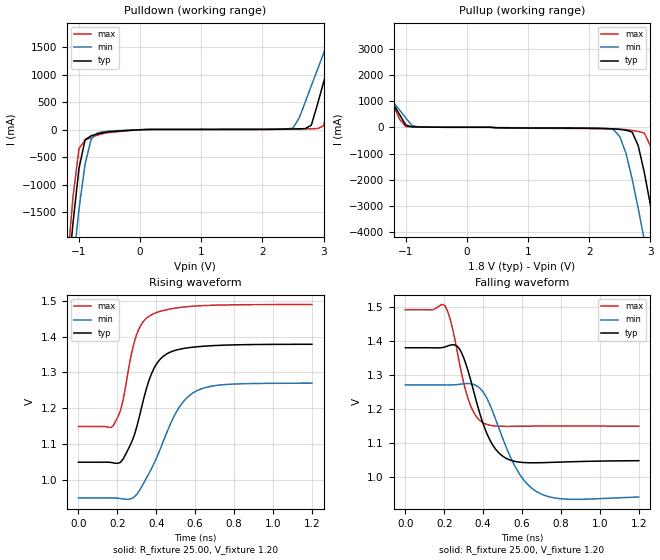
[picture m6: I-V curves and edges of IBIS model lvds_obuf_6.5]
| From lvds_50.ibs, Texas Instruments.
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|   Model lvds_obuf_6.5
[Model]   lvds_obuf_6.5
Model_type   Output
Polarity   Non-Inverting
Vmeas =   1.2000V
C_comp   4.00pF   4.00pF   4.00pF
[Temperature Range]   25.00   0.12k   -40.00
[Voltage Range]   1.80V   1.65V   1.95V
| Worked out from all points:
|   slope of the pulldown table from 0 to 0.27 V, typ, clamps not added: 45.9 ohm
|   slope of the pullup table from 0 to 0.27 V, typ, clamps not added: 20 kohm
|   rising waveform, R_fixture 25.00, V_fixture 1.20: 20-80 % time 110ps typ, 164ps min, 83.7ps max; typ from 1.05 V to 1.38 V
|   falling waveform, R_fixture 25.00, V_fixture 1.20: 20-80 % time 108ps typ, 149ps min, 82.5ps max; typ from 1.38 V to 1.05 V
[Pulldown]
| voltage   I(typ)   I(min)   I(max)
-1.8V     -11.24A    -11.51A    -11.61A
-1.2V     -2.95A     -3.66A     -2.55A
-1.1V     -1.71A     -2.5A      -1.24A
-1V       -700mA     -1.44A     -340mA
-900mV    -180mA     -620mA     -190mA
-700mV    -76.96mA   -60.03mA   -98.36mA
2.5V      14.28mA    30.3mA     11.34mA
2.8V      83.04mA    800mA      18.25mA
3V        860mA      1.39A      69.41mA
3.2V      1.64A      2A         1.05A
3.4V      2.44A      2.87A      2.05A
3.6V      3.26A      7.07A      3.07A
[Pullup]
| voltage   I(typ)   I(min)   I(max)
-1.8V     3.24A      3.32A      3.83A
-1.6V     2.43A      2.16A      2.81A
-1V       81.96mA    350mA      27.79mA
2.4V      -60.41mA   -92.01mA   -62.4mA
2.5V      -81.44mA   -360mA     -70.35mA
2.7V      -180mA     -1.96A     -120mA
2.9V      -1.72A     -4.29A     -220mA
3V        -2.97A     -5.53A     -710mA
3.1V      -4.3A      -6.79A     -1.88A
3.2V      -5.67A     -8.07A     -3.29A
3.3V      -7.06A     -9.37A     -4.77A
3.6V      -11.31A    -15.14A    -9.36A
[Ramp]
| variable   typ   min   max
dV/dt_r   0.42/0.12n   0.27/0.16n   0.55/99.32p
dV/dt_f   0.11/75.86p   0.11/0.11n   0.12/59.80p
R_load = 25.00
[Rising Waveform]
R_fixture = 25.00
V_fixture = 1.20
V_fixture_min = 1.10
V_fixture_max = 1.30
| time   V(typ)   V(min)   V(max)
0s        1.049V     949.2mV    1.149V
180ps     1.047V     949.2mV    1.152V
228ps     1.056V     946.4mV    1.219V
276ps     1.109V     948.2mV    1.361V
300ps     1.148V     959.3mV    1.408V
372ps     1.292V     1.027V     1.46V
420ps     1.337V     1.085V     1.471V
504ps     1.363V     1.19V      1.48V
600ps     1.371V     1.246V     1.486V
1.2ns     1.379V     1.27V      1.49V
[Falling Waveform]
R_fixture = 25.00
V_fixture = 1.20
V_fixture_min = 1.10
V_fixture_max = 1.30
| time   V(typ)   V(min)   V(max)
0s        1.38V      1.271V     1.491V
204ps     1.382V     1.271V     1.502V
240ps     1.388V     1.271V     1.443V
288ps     1.366V     1.273V     1.307V
348ps     1.259V     1.273V     1.194V
408ps     1.145V     1.243V     1.158V
504ps     1.061V     1.11V      1.15V
588ps     1.045V     1.009V     1.15V
672ps     1.043V     959.8mV    1.15V
1.2ns     1.049V     942.9mV    1.15V
